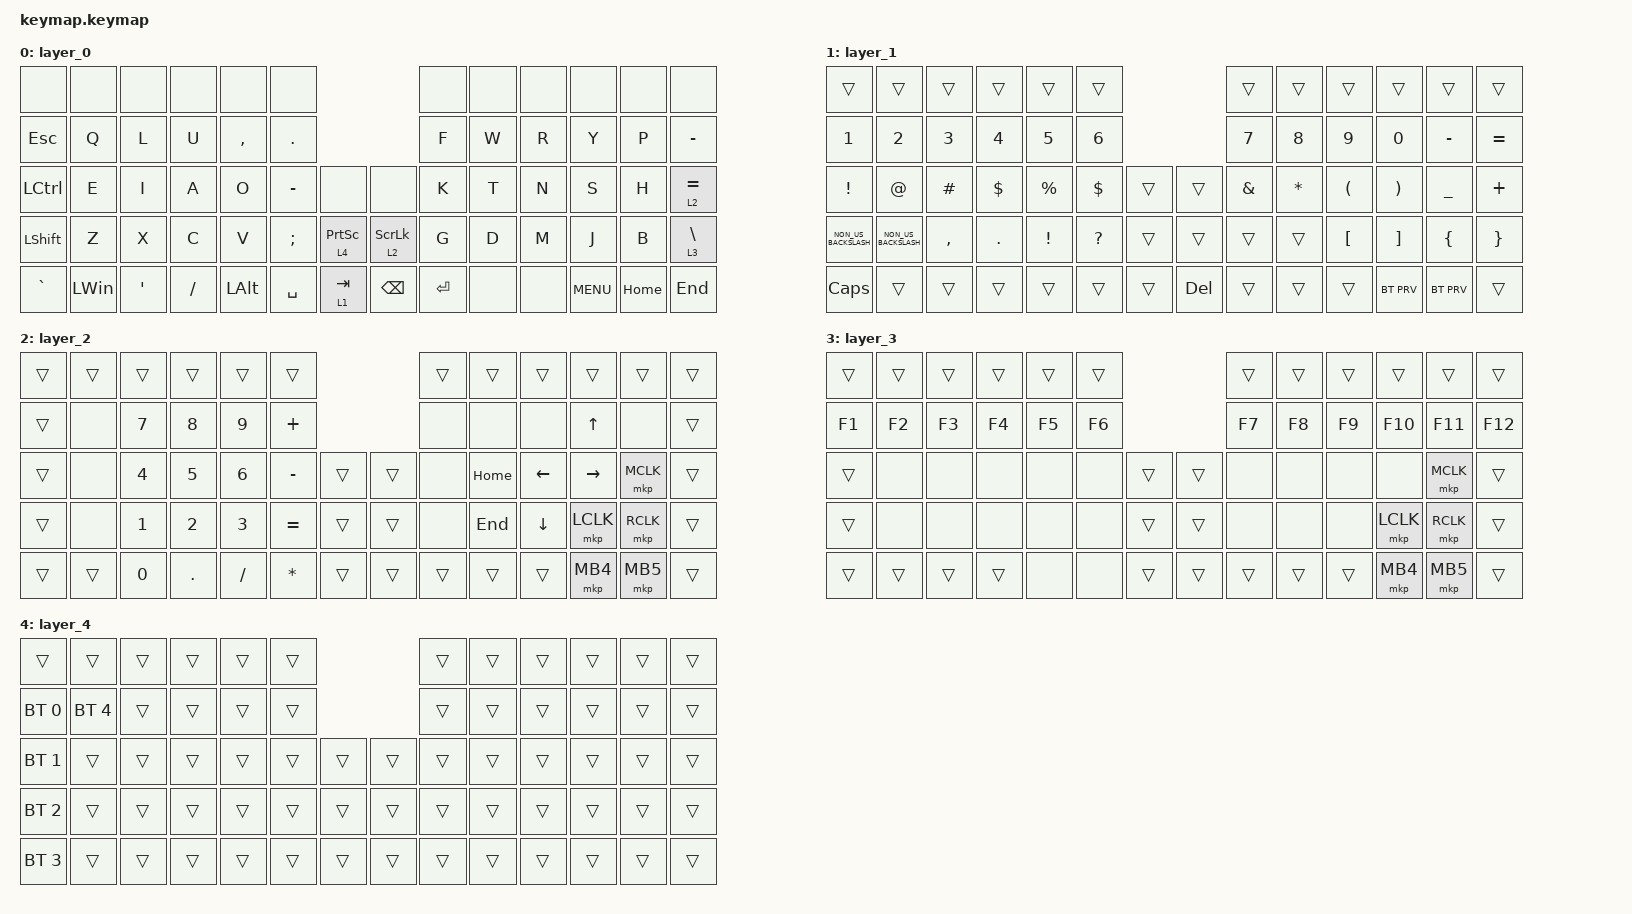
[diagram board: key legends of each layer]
#include <behaviors.dtsi>
#include <dt-bindings/zmk/bt.h>
#include <dt-bindings/zmk/keys.h>
#include <dt-bindings/zmk/pointing.h>

/ {
    combos {
        compatible = "zmk,combos";

        bt_clear {
            bindings = <&bt BT_CLR>;
            key-positions = <28 29>;
            layers = <2>;
        };
    };

    keymap {
        compatible = "zmk,keymap";

        layer_0 {
            bindings = <
&none             &none         &none    &none      &none         &none                                               &none      &none  &none  &none       &none     &none
&kp ESCAPE        &kp Q         &kp L    &kp U      &kp COMMA     &kp PERIOD                                          &kp F      &kp W  &kp R  &kp Y       &kp P     &kp MINUS
&kp LEFT_CONTROL  &kp E         &kp I    &kp A      &kp O         &kp MINUS      &none              &none             &kp K      &kp T  &kp N  &kp S       &kp H     &lt 2 EQUAL
&kp LSHFT         &kp Z         &kp X    &kp C      &kp V         &kp SEMICOLON  &lt 4 PRINTSCREEN  &lt 2 SCROLLLOCK  &kp G      &kp D  &kp M  &kp J       &kp B     &lt 3 BACKSLASH
&kp GRAVE         &kp LEFT_WIN  &kp SQT  &kp SLASH  &kp LEFT_ALT  &kp SPACE      &lt 1 TAB          &kp BACKSPACE     &kp ENTER  &none  &none  &kp C_MENU  &kp HOME  &kp END
            >;
        };

        layer_1 {
            bindings = <
&trans                &trans                &trans        &trans        &trans           &trans                         &trans         &trans        &trans                &trans                 &trans          &trans
&kp NUMBER_1          &kp NUMBER_2          &kp NUMBER_3  &kp NUMBER_4  &kp N5           &kp NUMBER_6                   &kp N7         &kp N8        &kp N9                &kp N0                 &kp MINUS       &kp EQUAL
&kp EXCLAMATION       &kp AT_SIGN           &kp HASH      &kp DOLLAR    &kp PERCENT      &kp DOLLAR    &trans  &trans   &kp AMPERSAND  &kp ASTERISK  &kp LEFT_PARENTHESIS  &kp RIGHT_PARENTHESIS  &kp UNDERSCORE  &kp PLUS
&kp NON_US_BACKSLASH  &kp NON_US_BACKSLASH  &kp COMMA     &kp PERIOD    &kp EXCLAMATION  &kp QUESTION  &trans  &trans   &trans         &trans        &kp LEFT_BRACKET      &kp RIGHT_BRACKET      &kp LEFT_BRACE  &kp RIGHT_BRACE
&kp CLCK              &trans                &trans        &trans        &trans           &trans        &trans  &kp DEL  &trans         &trans        &trans                &bt BT_PRV             &bt BT_PRV      &trans
            >;
        };

        layer_2 {
            bindings = <
&trans  &trans  &trans        &trans        &trans        &trans                        &trans  &trans    &trans    &trans        &trans     &trans
&trans  &none   &kp N7        &kp NUMBER_8  &kp NUMBER_9  &kp PLUS                      &none   &none     &none     &kp UP_ARROW  &none      &trans
&trans  &none   &kp NUMBER_4  &kp N5        &kp NUMBER_6  &kp MINUS     &trans  &trans  &none   &kp HOME  &kp LEFT  &kp RIGHT     &mkp MCLK  &trans
&trans  &none   &kp NUMBER_1  &kp NUMBER_2  &kp NUMBER_3  &kp EQUAL     &trans  &trans  &none   &kp END   &kp DOWN  &mkp LCLK     &mkp RCLK  &trans
&trans  &trans  &kp NUMBER_0  &kp PERIOD    &kp SLASH     &kp ASTERISK  &trans  &trans  &trans  &trans    &trans    &mkp MB4      &mkp MB5   &trans
            >;
        };

        layer_3 {
            bindings = <
&trans  &trans  &trans  &trans  &trans  &trans                  &trans  &trans  &trans  &trans     &trans     &trans
&kp F1  &kp F2  &kp F3  &kp F4  &kp F5  &kp F6                  &kp F7  &kp F8  &kp F9  &kp F10    &kp F11    &kp F12
&trans  &none   &none   &none   &none   &none   &trans  &trans  &none   &none   &none   &none      &mkp MCLK  &trans
&trans  &none   &none   &none   &none   &none   &trans  &trans  &none   &none   &none   &mkp LCLK  &mkp RCLK  &trans
&trans  &trans  &trans  &trans  &none   &none   &trans  &trans  &trans  &trans  &trans  &mkp MB4   &mkp MB5   &trans
            >;
        };

        layer_4 {
            bindings = <
&trans        &trans        &trans  &trans  &trans  &trans                  &trans  &trans  &trans  &trans  &trans  &trans
&bt BT_SEL 0  &bt BT_SEL 4  &trans  &trans  &trans  &trans                  &trans  &trans  &trans  &trans  &trans  &trans
&bt BT_SEL 1  &trans        &trans  &trans  &trans  &trans  &trans  &trans  &trans  &trans  &trans  &trans  &trans  &trans
&bt BT_SEL 2  &trans        &trans  &trans  &trans  &trans  &trans  &trans  &trans  &trans  &trans  &trans  &trans  &trans
&bt BT_SEL 3  &trans        &trans  &trans  &trans  &trans  &trans  &trans  &trans  &trans  &trans  &trans  &trans  &trans
            >;
        };
    };
};
